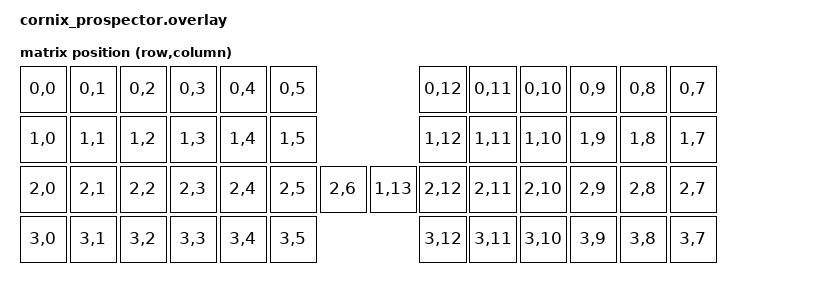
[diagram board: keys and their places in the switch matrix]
#include <dt-bindings/zmk/matrix_transform.h>
#include <dt-bindings/gpio/gpio.h>
#import "cornix-layouts.dtsi"
#include "../../jzf/cornix/cornix_sensors.dtsi"

/ {
    chosen {
        zmk,kscan = &mock_kscan;
        zmk,physical-layout = &layout_50;
    };

    mock_kscan: mock_kscan_0 {
        compatible = "zmk,kscan-mock";
        columns = <0>;
        rows = <0>;
        events = <0>;
    };

    default_transform: keymap_transform_50 {
        compatible = "zmk,matrix-transform";
        columns = <14>;
        rows = <4>;
// | SW1  | SW2  | SW3  | SW4  | SW5  | SW6  |             | SW6  | SW5  | SW4  | SW3  | SW2  | SW1  |
// | SW7  | SW8  | SW9  | SW10 | SW11 | SW12 |             | SW12 | SW11 | SW10 | SW9  | SW8  | SW7  |
// | SW13 | SW14 | SW15 | SW16 | SW17 | SW18 | SW19 | SW19 | SW18 | SW17 | SW16 | SW15 | SW14 | SW13 |
// | SW19 | SW20 | SW21 | SW22 | SW23 | SW24 |             | SW24 | SW23 | SW22 | SW21 | SW20 | SW19 |
        map = <
            RC(0,0) RC(0,1) RC(0,2) RC(0,3) RC(0,4) RC(0,5)                   RC(0,12)  RC(0,11) RC(0,10) RC(0,9) RC(0,8) RC(0,7)
            RC(1,0) RC(1,1) RC(1,2) RC(1,3) RC(1,4) RC(1,5)                   RC(1,12)  RC(1,11) RC(1,10) RC(1,9) RC(1,8) RC(1,7)
            RC(2,0) RC(2,1) RC(2,2) RC(2,3) RC(2,4) RC(2,5) RC(2, 6) RC(1,13) RC(2,12)  RC(2,11) RC(2,10) RC(2,9) RC(2,8) RC(2,7)
            RC(3,0) RC(3,1) RC(3,2) RC(3,3) RC(3,4) RC(3,5)                   RC(3,12)  RC(3,11) RC(3,10) RC(3,9) RC(3,8) RC(3,7)
        >;
    };
};

/* Waveshare 1.69" パネルの Hynitron CST816S 静電タッチ。
 * 画面復帰専用に使う(ホストへのポインタ/HID 出力はしない)。
 * APDS9960(0x39)と同じ i2c1 を共用。IRQ→XIAO D0(P0.02)、RST→XIAO D1(P0.03)。
 * beekeeb 2025/11/17 以降の PCB で配線済み。 */
&i2c1 {
    status = "okay";

    touch_sensor: cst816s@15 {
        compatible = "hynitron,cst816s";
        reg = <0x15>;
        irq-gpios = <&gpio0 2 GPIO_ACTIVE_LOW>;
        rst-gpios = <&gpio0 3 GPIO_ACTIVE_LOW>;
    };
};

/* タッチを LVGL のポインタ入力に橋渡しし、画面上のボタンをタップ操作可能にする。
 * 表示は ROTATED_270 なので、実機でタップ位置が表示とずれる場合は下の
 * swap-xy / invert-x / invert-y を有効化して合わせる(組合せは実機で確認)。 */
/ {
    lvgl_pointer: lvgl_pointer {
        compatible = "zephyr,lvgl-pointer-input";
        input = <&touch_sensor>;
        /* タッチは表示に対して 180° 回転していたため X/Y 両方を反転。
         * (invert-y だけだと横方向が鏡像=「裏返り」になる) */
        /* swap-xy; */
        invert-x;
        invert-y;
    };
};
